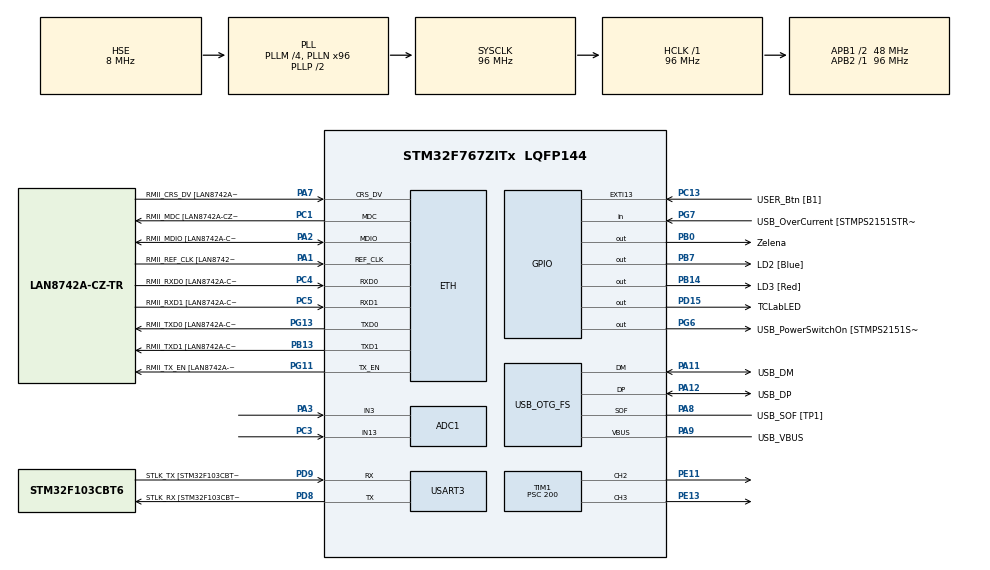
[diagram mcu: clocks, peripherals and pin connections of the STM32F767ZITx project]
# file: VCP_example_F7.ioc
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ADC1.Channel-0\#ChannelRegularConversion=ADC_CHANNEL_3
ADC1.ContinuousConvMode=DISABLE
ADC1.DMAContinuousRequests=DISABLE
ADC1.DiscontinuousConvMode=DISABLE
ADC1.EOCSelection=ADC_EOC_SEQ_CONV
ADC1.NbrOfConversion=1
ADC1.NbrOfConversionFlag=1
ADC1.Rank-0\#ChannelRegularConversion=1
ADC1.SamplingTime-0\#ChannelRegularConversion=ADC_SAMPLETIME_84CYCLES
ADC1.ScanConvMode=ADC_SCAN_ENABLE
ADC1.master=1
ETH.MediaInterface=ETH_MEDIA_INTERFACE_RMII
ETH.PHY_Name=LAN8742A_PHY_ADDRESS
ETH.PHY_Value=0
ETH.PhyAddress=0
Mcu.Family=STM32F7
Mcu.Name=STM32F767ZITx
Mcu.Package=LQFP144
NVIC.PVD_IRQn=true\:0\:0\:false\:false\:true\:true\:true
NVIC.PriorityGroup=NVIC_PRIORITYGROUP_4
NVIC.TIM7_IRQn=true\:1\:0\:true\:false\:true\:true\:true
NVIC.USART3_IRQn=true\:0\:0\:false\:false\:true\:true\:true
PA1.GPIO_Label=RMII_REF_CLK [LAN8742A-CZ-TR_REFCLK0]
PA1.Mode=RMII
PA1.Signal=ETH_REF_CLK
PA10.GPIO_Label=USB_ID
PA10.Signal=USB_OTG_FS_ID
PA11.GPIO_Label=USB_DM
PA11.Mode=Device_Only
PA11.Signal=USB_OTG_FS_DM
PA12.GPIO_Label=USB_DP
PA12.Mode=Device_Only
PA12.Signal=USB_OTG_FS_DP
PA13.GPIO_Label=TMS
PA13.Mode=Serial_Wire
PA13.Signal=SYS_JTMS-SWDIO
PA14.GPIO_Label=TCK
PA14.Mode=Serial_Wire
PA14.Signal=SYS_JTCK-SWCLK
PA2.GPIO_Label=RMII_MDIO [LAN8742A-CZ-TR_MDIO]
PA2.Mode=RMII
PA2.Signal=ETH_MDIO
PA3.Signal=ADCx_IN3
PA7.GPIO_Label=RMII_CRS_DV [LAN8742A-CZ-TR_CRS_DV]
PA7.Mode=RMII
PA7.Signal=ETH_CRS_DV
PA8.GPIO_Label=USB_SOF [TP1]
PA8.Mode=Activate_SOF_FS
PA8.Signal=USB_OTG_FS_SOF
PA9.GPIO_Label=USB_VBUS
PA9.Mode=Activate_VBUS
PA9.Signal=USB_OTG_FS_VBUS
PB0.GPIO_Label=Zelena
PB0.Signal=GPIO_Output
PB13.GPIO_Label=RMII_TXD1 [LAN8742A-CZ-TR_TXD1]
PB13.Mode=RMII
PB13.Signal=ETH_TXD1
PB14.GPIO_Label=LD3 [Red]
PB14.Signal=GPIO_Output
PB3.GPIO_Label=SWO
PB3.Signal=SYS_JTDO-SWO
PB7.GPIO_Label=LD2 [Blue]
PB7.Signal=GPIO_Output
PC1.GPIO_Label=RMII_MDC [LAN8742A-CZ-TR_MDC]
PC1.Mode=RMII
PC1.Signal=ETH_MDC
PC13.GPIO_Label=USER_Btn [B1]
PC13.Signal=GPXTI13
PC14/OSC32_IN.Mode=LSE-External-Oscillator
PC14/OSC32_IN.Signal=RCC_OSC32_IN
PC15/OSC32_OUT.Mode=LSE-External-Oscillator
PC15/OSC32_OUT.Signal=RCC_OSC32_OUT
PC3.Signal=ADCx_IN13
PC4.GPIO_Label=RMII_RXD0 [LAN8742A-CZ-TR_RXD0]
PC4.Mode=RMII
PC4.Signal=ETH_RXD0
PC5.GPIO_Label=RMII_RXD1 [LAN8742A-CZ-TR_RXD1]
PC5.Mode=RMII
PC5.Signal=ETH_RXD1
PD15.GPIO_Label=TCLabLED
PD15.Signal=GPIO_Output
PD8.GPIO_Label=STLK_RX [STM32F103CBT6_PA3]
PD8.Mode=Asynchronous
PD8.Signal=USART3_TX
PD9.GPIO_Label=STLK_TX [STM32F103CBT6_PA2]
PD9.Mode=Asynchronous
PD9.Signal=USART3_RX
PE11.Signal=S_TIM1_CH2
PE13.Signal=S_TIM1_CH3
PG11.GPIO_Label=RMII_TX_EN [LAN8742A-CZ-TR_TXEN]
PG11.Mode=RMII
PG11.Signal=ETH_TX_EN
PG13.GPIO_Label=RMII_TXD0 [LAN8742A-CZ-TR_TXD0]
PG13.Mode=RMII
PG13.Signal=ETH_TXD0
PG6.GPIO_Label=USB_PowerSwitchOn [STMPS2151STR_EN]
PG6.Signal=GPIO_Output
PG7.GPIO_Label=USB_OverCurrent [STMPS2151STR_FAULT]
PG7.Signal=GPIO_Input
PH0/OSC_IN.GPIO_Label=MCO [STM32F103CBT6_PA8]
PH0/OSC_IN.Mode=HSE-External-Clock-Source
PH0/OSC_IN.Signal=RCC_OSC_IN
PH1/OSC_OUT.Mode=HSE-External-Clock-Source
PH1/OSC_OUT.Signal=RCC_OSC_OUT
ProjectManager.HeapSize=0x200
ProjectManager.StackSize=0x400
ProjectManager.TargetToolchain=STM32CubeIDE
RCC.48MHZClocksFreq_Value=24000000
RCC.AHBFreq_Value=96000000
RCC.APB1CLKDivider=RCC_HCLK_DIV2
RCC.APB1Freq_Value=48000000
RCC.APB1TimFreq_Value=96000000
RCC.APB2Freq_Value=96000000
RCC.APB2TimFreq_Value=96000000
RCC.CortexFreq_Value=96000000
RCC.HCLKFreq_Value=96000000
RCC.HSE_VALUE=8000000
RCC.HSI_VALUE=16000000
RCC.PLLM=4
RCC.PLLMUL=RCC_PLL_MUL9
RCC.PLLN=96
RCC.PLLQ=4
RCC.PRESCALERUSB=RCC_USBCLKSOURCE_PLL_DIV1_5
RCC.SYSCLKFreq_VALUE=96000000
RCC.SYSCLKSource=RCC_SYSCLKSOURCE_PLLCLK
RCC.SYSCLKSourceVirtual=RCC_SYSCLKSOURCE_PLLCLK
RCC.USBFreq_Value=48000000
RCC.VCOOutputFreq_Value=192000000
SH.ADCx_IN13.0=ADC1_IN13,IN13
SH.ADCx_IN3.0=ADC1_IN3,IN3
SH.S_TIM1_CH2.0=TIM1_CH2,PWM Generation2 CH2
SH.S_TIM1_CH3.0=TIM1_CH3,PWM Generation3 CH3
TIM1.Channel-PWM\ Generation2\ CH2=TIM_CHANNEL_2
TIM1.Channel-PWM\ Generation3\ CH3=TIM_CHANNEL_3
TIM1.Period=255
TIM1.Prescaler=200
TIM7.Period=10000
TIM7.Prescaler=9600
USART3.VirtualMode-Asynchronous=VM_ASYNC
USB_OTG_FS.VirtualMode=Device_Only
VP_TIM1_VS_ClockSourceINT.Mode=Internal
VP_TIM7_VS_ClockSourceINT.Mode=Enable_Timer
board=NUCLEO-F767ZI

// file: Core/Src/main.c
/* USER CODE BEGIN Header */
/**
  ******************************************************************************
  * @file           : main.c
  * @brief          : Main program body
  ******************************************************************************
  * @attention
  *
  * <h2><center>&copy; Copyright (c) 2021 STMicroelectronics.
  * All rights reserved.</center></h2>
  *
  * This software component is licensed by ST under BSD 3-Clause license,
  * the "License"; You may not use this file except in compliance with the
  * License. You may obtain a copy of the License at:
  *                        opensource.org/licenses/BSD-3-Clause
  *
  ******************************************************************************
  */
/* USER CODE END Header */
#include "main.h"

/* USER CODE BEGIN Includes */
#include "TCLab.h"
/* USER CODE END Includes */

ADC_HandleTypeDef hadc1;

TIM_HandleTypeDef htim1;
TIM_HandleTypeDef htim7;

UART_HandleTypeDef huart3;

void SystemClock_Config(void);
static void MX_GPIO_Init(void);
static void MX_USART3_UART_Init(void);
static void MX_ADC1_Init(void);
static void MX_TIM1_Init(void);
static void MX_TIM7_Init(void);
/* USER CODE BEGIN PFP */
extern int real_time_flag;
/* USER CODE END PFP */

int main(void)
{

  /* MCU Configuration--------------------------------------------------------*/

  /* Reset of all peripherals, Initializes the Flash interface and the Systick. */
  HAL_Init();

  /* Configure the system clock */
  SystemClock_Config();

  /* Initialize all configured peripherals */
  MX_GPIO_Init();
  MX_USART3_UART_Init();
  MX_ADC1_Init();
  MX_TIM1_Init();
  MX_TIM7_Init();
  /* USER CODE BEGIN 2 */

    HAL_TIM_PWM_Start(&htim1, TIM_CHANNEL_2); //Heater Q2
 	HAL_TIM_PWM_Start(&htim1, TIM_CHANNEL_3); //Heater Q1
    HAL_TIM_Base_Start_IT(&htim7); //Start interrupt

	 __HAL_UART_ENABLE_IT(&huart3, UART_IT_RXNE);

	 HAL_UART_Transmit(&huart3, "TCLab_F767\n\r", 12, 10);
     LD1(0);LD2(0);LD3(0);

  /* USER CODE END 2 */

  /* Infinite loop */
  while (1)
  {

    /* USER CODE BEGIN 3 */
	  //if(real_time_flag==0){
		//HAL_GPIO_TogglePin(LD2_GPIO_Port, LD2_Pin);
	    //HAL_Delay(300);
	 // }

  }
  /* USER CODE END 3 */
}

void SystemClock_Config(void)
{
  RCC_OscInitTypeDef RCC_OscInitStruct = {0};
  RCC_ClkInitTypeDef RCC_ClkInitStruct = {0};
  RCC_PeriphCLKInitTypeDef PeriphClkInitStruct = {0};

  /** Configure LSE Drive Capability
  */
  HAL_PWR_EnableBkUpAccess();
  /** Configure the main internal regulator output voltage
  */
  __HAL_RCC_PWR_CLK_ENABLE();
  __HAL_PWR_VOLTAGESCALING_CONFIG(PWR_REGULATOR_VOLTAGE_SCALE3);
  /** Initializes the RCC Oscillators according to the specified parameters
  * in the RCC_OscInitTypeDef structure.
  */
  RCC_OscInitStruct.OscillatorType = RCC_OSCILLATORTYPE_HSE;
  RCC_OscInitStruct.HSEState = RCC_HSE_BYPASS;
  RCC_OscInitStruct.PLL.PLLState = RCC_PLL_ON;
  RCC_OscInitStruct.PLL.PLLSource = RCC_PLLSOURCE_HSE;
  RCC_OscInitStruct.PLL.PLLM = 4;
  RCC_OscInitStruct.PLL.PLLN = 96;
  RCC_OscInitStruct.PLL.PLLP = RCC_PLLP_DIV2;
  RCC_OscInitStruct.PLL.PLLQ = 4;
  RCC_OscInitStruct.PLL.PLLR = 2;
  if (HAL_RCC_OscConfig(&RCC_OscInitStruct) != HAL_OK)
  {
    Error_Handler();
  }
  /** Activate the Over-Drive mode
  */
  if (HAL_PWREx_EnableOverDrive() != HAL_OK)
  {
    Error_Handler();
  }
  /** Initializes the CPU, AHB and APB buses clocks
  */
  RCC_ClkInitStruct.ClockType = RCC_CLOCKTYPE_HCLK|RCC_CLOCKTYPE_SYSCLK
                              |RCC_CLOCKTYPE_PCLK1|RCC_CLOCKTYPE_PCLK2;
  RCC_ClkInitStruct.SYSCLKSource = RCC_SYSCLKSOURCE_PLLCLK;
  RCC_ClkInitStruct.AHBCLKDivider = RCC_SYSCLK_DIV1;
  RCC_ClkInitStruct.APB1CLKDivider = RCC_HCLK_DIV2;
  RCC_ClkInitStruct.APB2CLKDivider = RCC_HCLK_DIV1;

  if (HAL_RCC_ClockConfig(&RCC_ClkInitStruct, FLASH_LATENCY_3) != HAL_OK)
  {
    Error_Handler();
  }
  PeriphClkInitStruct.PeriphClockSelection = RCC_PERIPHCLK_USART3|RCC_PERIPHCLK_CLK48;
  PeriphClkInitStruct.Usart3ClockSelection = RCC_USART3CLKSOURCE_PCLK1;
  PeriphClkInitStruct.Clk48ClockSelection = RCC_CLK48SOURCE_PLL;
  if (HAL_RCCEx_PeriphCLKConfig(&PeriphClkInitStruct) != HAL_OK)
  {
    Error_Handler();
  }
}

static void MX_ADC1_Init(void)
{

  ADC_ChannelConfTypeDef sConfig = {0};

  /** Configure the global features of the ADC (Clock, Resolution, Data Alignment and number of conversion)
  */
  hadc1.Instance = ADC1;
  hadc1.Init.ClockPrescaler = ADC_CLOCK_SYNC_PCLK_DIV4;
  hadc1.Init.Resolution = ADC_RESOLUTION_12B;
  hadc1.Init.ScanConvMode = ADC_SCAN_ENABLE;
  hadc1.Init.ContinuousConvMode = DISABLE;
  hadc1.Init.DiscontinuousConvMode = DISABLE;
  hadc1.Init.ExternalTrigConvEdge = ADC_EXTERNALTRIGCONVEDGE_NONE;
  hadc1.Init.ExternalTrigConv = ADC_SOFTWARE_START;
  hadc1.Init.DataAlign = ADC_DATAALIGN_RIGHT;
  hadc1.Init.NbrOfConversion = 1;
  hadc1.Init.DMAContinuousRequests = DISABLE;
  hadc1.Init.EOCSelection = ADC_EOC_SEQ_CONV;
  if (HAL_ADC_Init(&hadc1) != HAL_OK)
  {
    Error_Handler();
  }
  /** Configure for the selected ADC regular channel its corresponding rank in the sequencer and its sample time.
  */
  sConfig.Channel = ADC_CHANNEL_3;
  sConfig.Rank = ADC_REGULAR_RANK_1;
  sConfig.SamplingTime = ADC_SAMPLETIME_84CYCLES;
  if (HAL_ADC_ConfigChannel(&hadc1, &sConfig) != HAL_OK)
  {
    Error_Handler();
  }

}

static void MX_TIM1_Init(void)
{

  TIM_ClockConfigTypeDef sClockSourceConfig = {0};
  TIM_MasterConfigTypeDef sMasterConfig = {0};
  TIM_OC_InitTypeDef sConfigOC = {0};
  TIM_BreakDeadTimeConfigTypeDef sBreakDeadTimeConfig = {0};

  htim1.Instance = TIM1;
  htim1.Init.Prescaler = 200;
  htim1.Init.CounterMode = TIM_COUNTERMODE_UP;
  htim1.Init.Period = 255;
  htim1.Init.ClockDivision = TIM_CLOCKDIVISION_DIV1;
  htim1.Init.RepetitionCounter = 0;
  htim1.Init.AutoReloadPreload = TIM_AUTORELOAD_PRELOAD_DISABLE;
  if (HAL_TIM_Base_Init(&htim1) != HAL_OK)
  {
    Error_Handler();
  }
  sClockSourceConfig.ClockSource = TIM_CLOCKSOURCE_INTERNAL;
  if (HAL_TIM_ConfigClockSource(&htim1, &sClockSourceConfig) != HAL_OK)
  {
    Error_Handler();
  }
  if (HAL_TIM_PWM_Init(&htim1) != HAL_OK)
  {
    Error_Handler();
  }
  sMasterConfig.MasterOutputTrigger = TIM_TRGO_RESET;
  sMasterConfig.MasterOutputTrigger2 = TIM_TRGO2_RESET;
  sMasterConfig.MasterSlaveMode = TIM_MASTERSLAVEMODE_DISABLE;
  if (HAL_TIMEx_MasterConfigSynchronization(&htim1, &sMasterConfig) != HAL_OK)
  {
    Error_Handler();
  }
  sConfigOC.OCMode = TIM_OCMODE_PWM1;
  sConfigOC.Pulse = 0;
  sConfigOC.OCPolarity = TIM_OCPOLARITY_HIGH;
  sConfigOC.OCNPolarity = TIM_OCNPOLARITY_HIGH;
  sConfigOC.OCFastMode = TIM_OCFAST_DISABLE;
  sConfigOC.OCIdleState = TIM_OCIDLESTATE_RESET;
  sConfigOC.OCNIdleState = TIM_OCNIDLESTATE_RESET;
  if (HAL_TIM_PWM_ConfigChannel(&htim1, &sConfigOC, TIM_CHANNEL_2) != HAL_OK)
  {
    Error_Handler();
  }
  if (HAL_TIM_PWM_ConfigChannel(&htim1, &sConfigOC, TIM_CHANNEL_3) != HAL_OK)
  {
    Error_Handler();
  }
  sBreakDeadTimeConfig.OffStateRunMode = TIM_OSSR_DISABLE;
  sBreakDeadTimeConfig.OffStateIDLEMode = TIM_OSSI_DISABLE;
  sBreakDeadTimeConfig.LockLevel = TIM_LOCKLEVEL_OFF;
  sBreakDeadTimeConfig.DeadTime = 0;
  sBreakDeadTimeConfig.BreakState = TIM_BREAK_DISABLE;
  sBreakDeadTimeConfig.BreakPolarity = TIM_BREAKPOLARITY_HIGH;
  sBreakDeadTimeConfig.BreakFilter = 0;
  sBreakDeadTimeConfig.Break2State = TIM_BREAK2_DISABLE;
  sBreakDeadTimeConfig.Break2Polarity = TIM_BREAK2POLARITY_HIGH;
  sBreakDeadTimeConfig.Break2Filter = 0;
  sBreakDeadTimeConfig.AutomaticOutput = TIM_AUTOMATICOUTPUT_DISABLE;
  if (HAL_TIMEx_ConfigBreakDeadTime(&htim1, &sBreakDeadTimeConfig) != HAL_OK)
  {
    Error_Handler();
  }
  HAL_TIM_MspPostInit(&htim1);

}

static void MX_TIM7_Init(void)
{

  TIM_MasterConfigTypeDef sMasterConfig = {0};

  htim7.Instance = TIM7;
  htim7.Init.Prescaler = 9600;
  htim7.Init.CounterMode = TIM_COUNTERMODE_UP;
  htim7.Init.Period = 10000;
  htim7.Init.AutoReloadPreload = TIM_AUTORELOAD_PRELOAD_DISABLE;
  if (HAL_TIM_Base_Init(&htim7) != HAL_OK)
  {
    Error_Handler();
  }
  sMasterConfig.MasterOutputTrigger = TIM_TRGO_RESET;
  sMasterConfig.MasterSlaveMode = TIM_MASTERSLAVEMODE_DISABLE;
  if (HAL_TIMEx_MasterConfigSynchronization(&htim7, &sMasterConfig) != HAL_OK)
  {
    Error_Handler();
  }

}

static void MX_USART3_UART_Init(void)
{

  huart3.Instance = USART3;
  huart3.Init.BaudRate = 115200;
  huart3.Init.WordLength = UART_WORDLENGTH_8B;
  huart3.Init.StopBits = UART_STOPBITS_1;
  huart3.Init.Parity = UART_PARITY_NONE;
  huart3.Init.Mode = UART_MODE_TX_RX;
  huart3.Init.HwFlowCtl = UART_HWCONTROL_NONE;
  huart3.Init.OverSampling = UART_OVERSAMPLING_16;
  huart3.Init.OneBitSampling = UART_ONE_BIT_SAMPLE_DISABLE;
  huart3.AdvancedInit.AdvFeatureInit = UART_ADVFEATURE_NO_INIT;
  if (HAL_UART_Init(&huart3) != HAL_OK)
  {
    Error_Handler();
  }

}

static void MX_GPIO_Init(void)
{
  GPIO_InitTypeDef GPIO_InitStruct = {0};

  /* GPIO Ports Clock Enable */
  __HAL_RCC_GPIOC_CLK_ENABLE();
  __HAL_RCC_GPIOH_CLK_ENABLE();
  __HAL_RCC_GPIOA_CLK_ENABLE();
  __HAL_RCC_GPIOB_CLK_ENABLE();
  __HAL_RCC_GPIOE_CLK_ENABLE();
  __HAL_RCC_GPIOD_CLK_ENABLE();
  __HAL_RCC_GPIOG_CLK_ENABLE();

  /*Configure GPIO pin Output Level */
  HAL_GPIO_WritePin(GPIOB, Zelena_Pin|LD3_Pin|LD2_Pin, GPIO_PIN_RESET);

  /*Configure GPIO pin Output Level */
  HAL_GPIO_WritePin(TCLabLED_GPIO_Port, TCLabLED_Pin, GPIO_PIN_RESET);

  /*Configure GPIO pin Output Level */
  HAL_GPIO_WritePin(USB_PowerSwitchOn_GPIO_Port, USB_PowerSwitchOn_Pin, GPIO_PIN_RESET);

  /*Configure GPIO pin : USER_Btn_Pin */
  GPIO_InitStruct.Pin = USER_Btn_Pin;
  GPIO_InitStruct.Mode = GPIO_MODE_IT_RISING;
  GPIO_InitStruct.Pull = GPIO_NOPULL;
  HAL_GPIO_Init(USER_Btn_GPIO_Port, &GPIO_InitStruct);

  /*Configure GPIO pins : Zelena_Pin LD3_Pin LD2_Pin */
  GPIO_InitStruct.Pin = Zelena_Pin|LD3_Pin|LD2_Pin;
  GPIO_InitStruct.Mode = GPIO_MODE_OUTPUT_PP;
  GPIO_InitStruct.Pull = GPIO_NOPULL;
  GPIO_InitStruct.Speed = GPIO_SPEED_FREQ_LOW;
  HAL_GPIO_Init(GPIOB, &GPIO_InitStruct);

  /*Configure GPIO pin : TCLabLED_Pin */
  GPIO_InitStruct.Pin = TCLabLED_Pin;
  GPIO_InitStruct.Mode = GPIO_MODE_OUTPUT_PP;
  GPIO_InitStruct.Pull = GPIO_NOPULL;
  GPIO_InitStruct.Speed = GPIO_SPEED_FREQ_LOW;
  HAL_GPIO_Init(TCLabLED_GPIO_Port, &GPIO_InitStruct);

  /*Configure GPIO pin : USB_PowerSwitchOn_Pin */
  GPIO_InitStruct.Pin = USB_PowerSwitchOn_Pin;
  GPIO_InitStruct.Mode = GPIO_MODE_OUTPUT_PP;
  GPIO_InitStruct.Pull = GPIO_NOPULL;
  GPIO_InitStruct.Speed = GPIO_SPEED_FREQ_LOW;
  HAL_GPIO_Init(USB_PowerSwitchOn_GPIO_Port, &GPIO_InitStruct);

  /*Configure GPIO pin : USB_OverCurrent_Pin */
  GPIO_InitStruct.Pin = USB_OverCurrent_Pin;
  GPIO_InitStruct.Mode = GPIO_MODE_INPUT;
  GPIO_InitStruct.Pull = GPIO_NOPULL;
  HAL_GPIO_Init(USB_OverCurrent_GPIO_Port, &GPIO_InitStruct);

}

/* USER CODE BEGIN 4 */
void ADC_Select_CH3 (void)
{
	ADC_ChannelConfTypeDef sConfig = {0};
	  /** Configure for the selected ADC regular channel its corresponding rank in the sequencer and its sample time.
	  */
	  sConfig.Channel = ADC_CHANNEL_3;
	  sConfig.Rank = 1;
	  sConfig.SamplingTime = ADC_SAMPLETIME_84CYCLES;
	  if (HAL_ADC_ConfigChannel(&hadc1, &sConfig) != HAL_OK)
	  {
	    Error_Handler();
	  }
}

void ADC_Select_CH13 (void)
{
	ADC_ChannelConfTypeDef sConfig = {0};
	  /** Configure for the selected ADC regular channel its corresponding rank in the sequencer and its sample time.
	  */
	  sConfig.Channel = ADC_CHANNEL_13;
	  sConfig.Rank = 1;
	  sConfig.SamplingTime = ADC_SAMPLETIME_84CYCLES;
	  if (HAL_ADC_ConfigChannel(&hadc1, &sConfig) != HAL_OK)
	  {
	    Error_Handler();
	  }
}
/* USER CODE END 4 */

void Error_Handler(void)
{
  __disable_irq();
  while (1)
  {
  }
}

/************************ (C) COPYRIGHT STMicroelectronics *****END OF FILE****/
